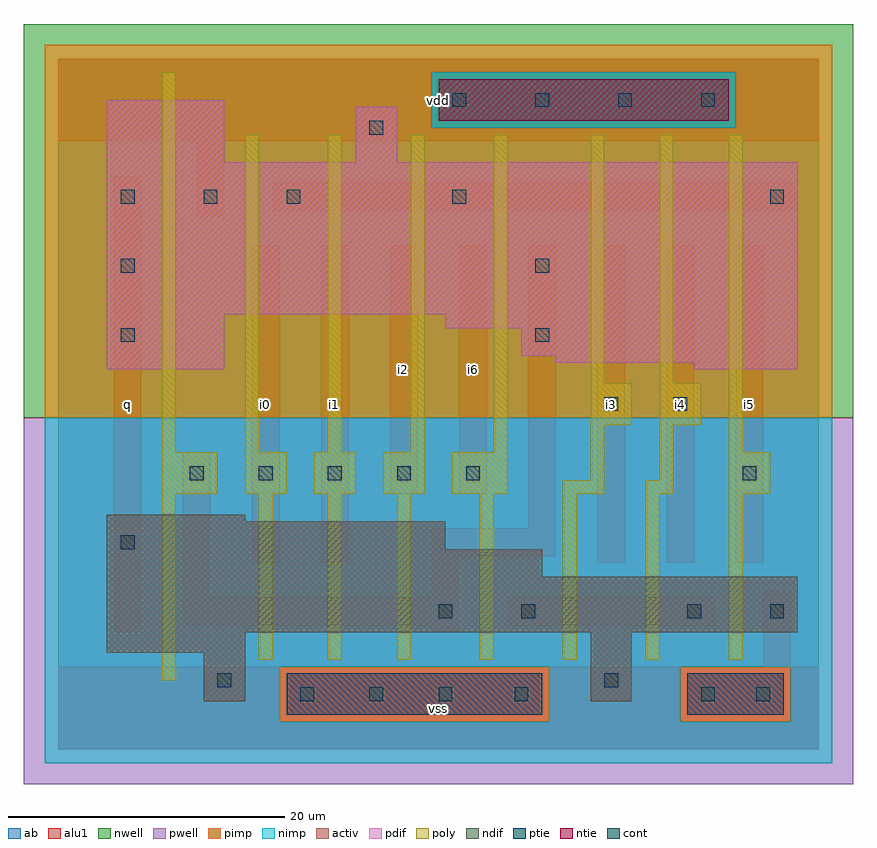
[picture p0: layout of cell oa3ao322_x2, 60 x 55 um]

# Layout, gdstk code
import gdstk
lib = gdstk.Library(unit=1e-6, precision=1e-09)
def R(c, l, rs):  # rectangles x0, y0, x1, y1
    for r in rs: c.add(gdstk.rectangle(r[:2], r[2:], *l))
def A(c, l, x, y, w, h, nx, ny, dx, dy):  # array of equal rectangles
    R(c, l, [(x+i*dx, y+j*dy, x+i*dx+w, y+j*dy+h) for i in range(nx) for j in range(ny)])
ndif = (3, 0)
pdif = (4, 0)
ntie = (5, 0)
ptie = (6, 0)
cont = (25, 0)
pwell = (41, 0)
nwell = (42, 0)
activ = (43, 0)
pimp = (44, 0)
nimp = (45, 0)
poly = (46, 0)
alu1 = (49, 0)
ab = (63, 0)

oa3ao322_x2 = lib.new_cell('oa3ao322_x2')
R(oa3ao322_x2, ndif, [(10.5,3.5,13.5,7), (38.5,3.5,41.5,8.5), (3.5,7,13.5,8.5), (3.5,8.5,53.5,12.5), (3.5,12.5,35,14.5), (3.5,14.5,28,16.5), (3.5,16.5,13.5,17)])
R(oa3ao322_x2, pdif, [(3.5,27.5,12,31.5), (46,27.5,53.5,28), (36,28,53.5,28.5), (33.5,28.5,53.5,30.5), (28,30.5,53.5,31.5), (3.5,31.5,53.5,42.5), (3.5,42.5,12,47), (21.5,42.5,24.5,46.5)])
R(oa3ao322_x2, ntie, [(27.5,45.5,48.5,48.5)])
R(oa3ao322_x2, ptie, [(16.5,2.5,35,5.5), (45.5,2.5,52.5,5.5)])
A(oa3ao322_x2, cont, 17.5, 3.5, 1, 1, 3, 1, 5, 0)
A(oa3ao322_x2, cont, 9.5, 19.5, 1, 1, 5, 1, 5, 0)
A(oa3ao322_x2, cont, 4.5, 39.5, 1, 1, 3, 1, 6, 0)
A(oa3ao322_x2, cont, 28.5, 46.5, 1, 1, 4, 1, 6, 0)
R(oa3ao322_x2, cont, [(33,3.5,34,4.5), (46.5,3.5,47.5,4.5), (50.5,3.5,51.5,4.5), (11.5,4.5,12.5,5.5), (39.5,4.5,40.5,5.5), (27.5,9.5,28.5,10.5), (33.5,9.5,34.5,10.5), (45.5,9.5,46.5,10.5), (51.5,9.5,52.5,10.5), (4.5,14.5,5.5,15.5), (49.5,19.5,50.5,20.5), (39.5,24.5,40.5,25.5), (44.5,24.5,45.5,25.5), (4.5,29.5,5.5,30.5), (34.5,29.5,35.5,30.5), (4.5,34.5,5.5,35.5), (34.5,34.5,35.5,35.5), (28.5,39.5,29.5,40.5), (51.5,39.5,52.5,40.5), (22.5,44.5,23.5,45.5)])
R(oa3ao322_x2, pwell, [(-2.5,-2.5,57.5,24)])
R(oa3ao322_x2, nwell, [(-2.5,24,57.5,52.5)])
R(oa3ao322_x2, activ, [(16.5,2.5,35,5.5), (45.5,2.5,52.5,5.5), (10.5,3.5,13.5,7), (38.5,3.5,41.5,8.5), (3.5,7,13.5,8.5), (3.5,8.5,53.5,12.5), (3.5,12.5,35,14.5), (3.5,14.5,28,16.5), (3.5,16.5,13.5,17), (3.5,27.5,12,31.5), (46,27.5,53.5,28), (36,28,53.5,28.5), (33.5,28.5,53.5,30.5), (28,30.5,53.5,31.5), (3.5,31.5,53.5,42.5), (3.5,42.5,12,47), (21.5,42.5,24.5,46.5), (27.5,45.5,48.5,48.5)])
R(oa3ao322_x2, pimp, [(16,2,35.5,6), (45,2,53,6), (-1,24,56,45), (-1,45,27,49), (49,45,56,49), (-1,49,56,51)])
R(oa3ao322_x2, nimp, [(-1,-1,56,2), (-1,2,16,6), (35.5,2,45,6), (53,2,56,6), (-1,6,56,24), (27,45,49,49)])
A(oa3ao322_x2, poly, 14.5, 6.5, 1, 12, 3, 1, 5, 0)
A(oa3ao322_x2, poly, 30.5, 6.5, 1, 12, 4, 1, 6, 0)
A(oa3ao322_x2, poly, 13.5, 18.5, 3, 3, 3, 1, 5, 0)
A(oa3ao322_x2, poly, 13.5, 21.5, 1, 23, 4, 1, 6, 0)
R(oa3ao322_x2, poly, [(7.5,5,8.5,18.5), (7.5,18.5,11.5,21.5), (28.5,18.5,32.5,21.5), (36.5,18.5,39.5,19.5), (42.5,18.5,44.5,19.5), (48.5,18.5,51.5,21.5), (38.5,19.5,39.5,23.5), (43.5,19.5,44.5,23.5), (7.5,21.5,8.5,49), (48.5,21.5,49.5,44.5), (38.5,23.5,41.5,26.5), (43.5,23.5,46.5,26.5), (38.5,26.5,39.5,44.5), (43.5,26.5,44.5,44.5)])
R(oa3ao322_x2, alu1, [(0,0,55,6), (0,0,55,6), (51,6,53,11.5), (51,6,53,11.5), (4,8.5,6,41.5), (4,8.5,6,41.5), (27,8.5,29,9), (27,8.5,29,9), (9,9,29,11), (9,9,29,11), (32.5,9,47.5,11), (32.5,9,47.5,11), (9,11,11,21.5), (9,11,11,21.5), (27,11,29,14), (27,11,29,14), (14,13.5,16,36.5), (14,13.5,16,36.5), (19,13.5,21,36.5), (19,13.5,21,36.5), (39,13.5,41,36.5), (39,13.5,41,36.5), (44,13.5,46,36.5), (44,13.5,46,36.5), (49,13.5,51,36.5), (49,13.5,51,36.5), (27,14,36,16), (27,14,36,16), (34,16,36,36.5), (34,16,36,36.5), (24,18.5,26,36.5), (24,18.5,26,36.5), (29,18.5,31,36.5), (29,18.5,31,36.5), (10,38.5,12,44), (10,38.5,12,44), (15.5,39,53.5,41), (15.5,39,53.5,41), (0,44,55,50), (0,44,55,50)])
R(oa3ao322_x2, ab, [(0,0,55,50)])
oa3ao322_x2.add(gdstk.Label('q', (5,25), layer=49, texttype=0))
oa3ao322_x2.add(gdstk.Label('i1', (20,25), layer=49, texttype=0))
oa3ao322_x2.add(gdstk.Label('i0', (15,25), layer=49, texttype=0))
oa3ao322_x2.add(gdstk.Label('i2', (25,27.5), layer=49, texttype=0))
oa3ao322_x2.add(gdstk.Label('vss', (27.5,3), layer=49, texttype=0))
oa3ao322_x2.add(gdstk.Label('i3', (40,25), layer=49, texttype=0))
oa3ao322_x2.add(gdstk.Label('i6', (30,27.5), layer=49, texttype=0))
oa3ao322_x2.add(gdstk.Label('vdd', (27.5,47), layer=49, texttype=0))
oa3ao322_x2.add(gdstk.Label('i4', (45,25), layer=49, texttype=0))
oa3ao322_x2.add(gdstk.Label('i5', (50,25), layer=49, texttype=0))

lib.write_gds('oa3ao322_x2.gds')
